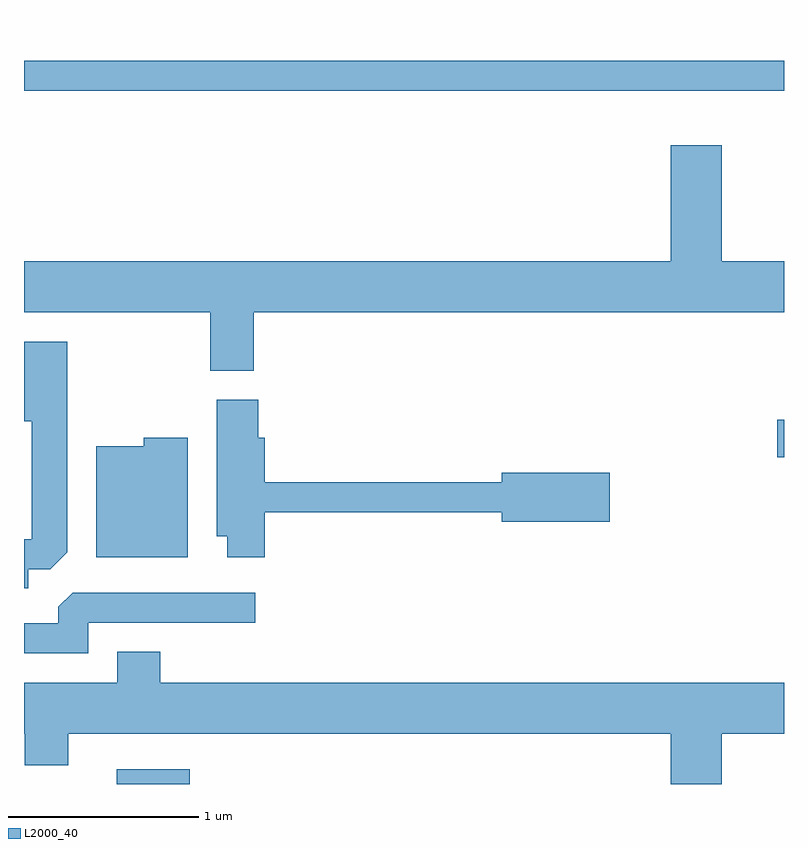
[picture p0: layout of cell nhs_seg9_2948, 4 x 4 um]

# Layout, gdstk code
import gdstk
lib = gdstk.Library(unit=1e-6, precision=1e-09)
def R(c, l, rs):  # rectangles x0, y0, x1, y1
    for r in rs: c.add(gdstk.rectangle(r[:2], r[2:], *l))
def P(c, l, *ps):  # polygons
    for p in ps: c.add(gdstk.Polygon(p, *l))
L2000_40 = (2000, 40)

nhs_seg9_2948 = lib.new_cell('nhs_seg9_2948')
R(nhs_seg9_2948, L2000_40, [(272.098,2000.432,272.484,2000.509), (275.576,2002.151,275.611,2002.349), (271.611,2004.081,275.611,2004.239), (271.876,2004.431,272.504,2004.432)])
P(nhs_seg9_2948, L2000_40, [(271.611,2002.916),(272.591,2002.916),(272.591,2002.606),(272.819,2002.606),(272.819,2002.916),(275.611,2002.916),(275.611,2003.184),(275.284,2003.184),(275.284,2003.794),(275.016,2003.794),(275.016,2003.184),(271.611,2003.184)],
  [(271.634,2001.561),(271.749,2001.561),(271.839,2001.652),(271.839,2002.759),(271.611,2002.759),(271.611,2002.341),(271.651,2002.341),(271.651,2001.719),(271.611,2001.719),(271.611,2001.461),(271.634,2001.461)],
  [(272.879,2001.861),(274.126,2001.861),(274.126,2001.811),(274.694,2001.811),(274.694,2002.069),(274.126,2002.069),(274.126,2002.019),(272.879,2002.019),(272.879,2002.254),(272.844,2002.254),(272.844,2002.454),(272.626,2002.454),(272.626,2001.736),(272.681,2001.736),(272.681,2001.626),(272.879,2001.626)],
  [(272.474,2002.254),(272.241,2002.254),(272.241,2002.209),(271.991,2002.209),(271.991,2001.626),(272.474,2001.626)],
  [(271.949,2001.281),(272.828,2001.281),(272.828,2001.439),(271.867,2001.439),(271.791,2001.364),(271.791,2001.279),(271.611,2001.279),(271.611,2001.121),(271.949,2001.121)],
  [(275.284,2000.696),(275.611,2000.696),(275.611,2000.964),(272.329,2000.964),(272.329,2001.129),(272.101,2001.129),(272.101,2000.964),(271.611,2000.964),(271.611,2000.696),(271.616,2000.696),(271.616,2000.531),(271.844,2000.531),(271.844,2000.696),(275.016,2000.696),(275.016,2000.432),(275.284,2000.432)])

lib.write_gds('nhs_seg9_2948.gds')
